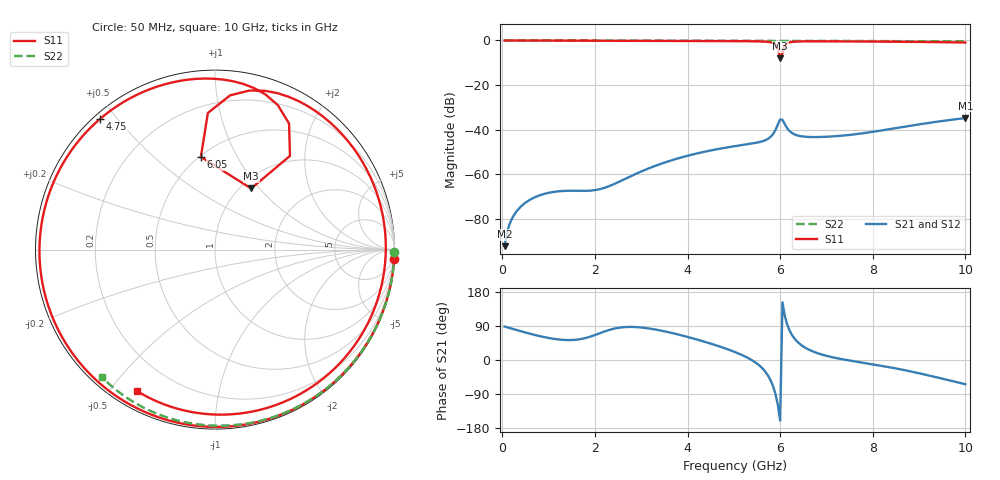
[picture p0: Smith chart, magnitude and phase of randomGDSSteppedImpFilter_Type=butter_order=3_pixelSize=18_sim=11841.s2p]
! freq	dB(S11)	phase(S11)	dB(S12)	phase(S12)
!  dB(S21)	phase(S21)	dB(S22)	phase(S22)
!S-par simulation data
#  GHz  S  DB  R 50
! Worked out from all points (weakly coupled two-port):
!   200 points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, 50 MHz to 10 GHz, reference 50 ohm
!   highest |S21| = -34.77 dB at 10 GHz (marker M1); lowest = -92.2 dB at 50 MHz (marker M2)
!   lowest |S11| = -8.1 dB at 6 GHz (marker M3), VSWR 2.31, Z = 56 + j45.2 ohm
!   |S11| at or under -10 dB: nowhere
!   |S22| runs from -0.5 to 0.0 dB; largest |S21 - S12| = 0
!   S11 on the Smith chart (normalised r, x): 50 MHz: 0, -39; 4.75 GHz: 0.02, +0.45; 6.05 GHz: 0.51, +0.72; 10 GHz: 0.07, -0.59
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0.05  -0.00 -2.9  -92.17 88.2  -92.17 88.2  -0.00 -0.8
0.2  -0.02 -11.6  -80.21 82.9  -80.21 82.9  -0.00 -3.0
0.5  -0.04 -28.7  -72.70 72.5  -72.70 72.5  -0.01 -7.6
0.95  -0.07 -53.6  -68.50 59.3  -68.50 59.3  -0.02 -14.3
1.75  -0.11 -94.9  -67.39 56.5  -67.39 56.5  -0.03 -26.2
2.6  -0.15 -134.5  -62.54 86.4  -62.54 86.4  -0.05 -38.6
3.4  -0.18 -169.2  -55.46 78.3  -55.46 78.3  -0.07 -49.9
4.05  -0.21 162.8  -51.39 59.3  -51.39 59.3  -0.08 -58.9
4.75  -0.27 131.4  -48.31 33.3  -48.31 33.3  -0.10 -68.3
5.05  -0.30 117.1  -47.28 19.7  -47.28 19.7  -0.11 -72.3
5.75  -0.67 76.5  -43.91 -43.6  -43.91 -43.6  -0.14 -81.3
5.85  -1.13 66.5  -41.84 -70.1  -41.84 -70.1  -0.14 -82.6
5.95  -3.50 51.3  -37.63 -118.2  -37.63 -118.2  -0.15 -83.9
6  -8.05 59.4  -35.40 -159.9  -35.40 -159.9  -0.15 -84.5
6.05  -5.64 98.7  -35.57 152.1  -35.57 152.1  -0.16 -85.1
6.1  -2.36 93.0  -37.49 116.9  -37.49 116.9  -0.16 -85.7
6.2  -0.85 77.8  -40.54 78.6  -40.54 78.6  -0.16 -87.0
6.7  -0.39 41.9  -43.29 22.9  -43.29 22.9  -0.18 -93.2
7.5  -0.43 -1.9  -42.32 -1.4  -42.32 -1.4  -0.23 -102.8
8.35  -0.54 -44.8  -39.79 -18.7  -39.79 -18.7  -0.29 -112.8
9.15  -0.69 -81.7  -37.13 -39.2  -37.13 -39.2  -0.36 -122.0
10  -0.92 -118.9  -34.77 -63.9  -34.77 -63.9  -0.45 -131.6
